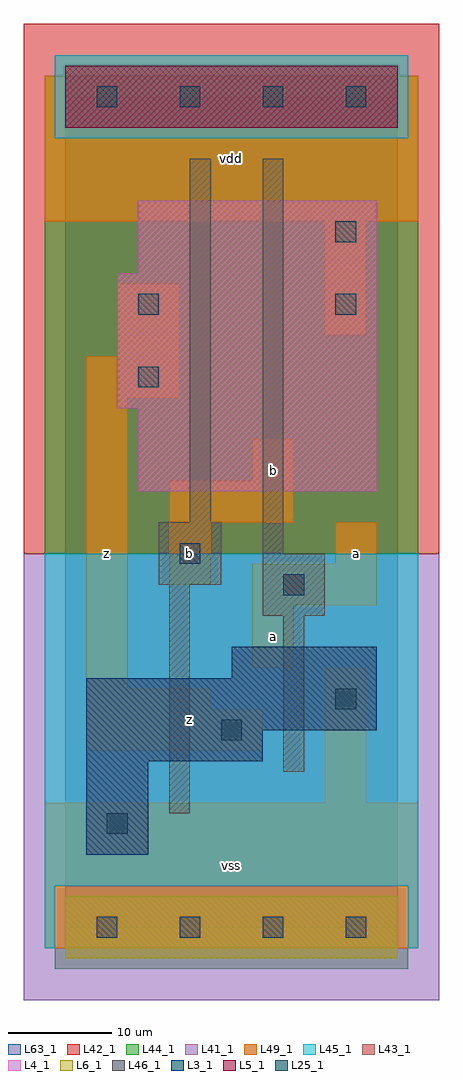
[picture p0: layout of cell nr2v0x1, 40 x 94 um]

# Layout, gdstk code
import gdstk
lib = gdstk.Library(unit=1e-6, precision=1e-09)
def R(c, l, rs):  # rectangles x0, y0, x1, y1
    for r in rs: c.add(gdstk.rectangle(r[:2], r[2:], *l))
def A(c, l, x, y, w, h, nx, ny, dx, dy):  # array of equal rectangles
    R(c, l, [(x+i*dx, y+j*dy, x+i*dx+w, y+j*dy+h) for i in range(nx) for j in range(ny)])
L3_1 = (3, 1)
L4_1 = (4, 1)
L5_1 = (5, 1)
L6_1 = (6, 1)
L25_1 = (25, 1)
L41_1 = (41, 1)
L42_1 = (42, 1)
L43_1 = (43, 1)
L44_1 = (44, 1)
L45_1 = (45, 1)
L46_1 = (46, 1)
L49_1 = (49, 1)
L63_1 = (63, 1)

nr2v0x1 = lib.new_cell('nr2v0x1')
R(nr2v0x1, L3_1, [(2,7,8,16), (2,16,19,19), (2,19,30,24), (16,24,30,27)])
R(nr2v0x1, L4_1, [(7,42,30,50), (5,50,30,63), (7,63,30,70)])
R(nr2v0x1, L5_1, [(0,77,32,83)])
R(nr2v0x1, L6_1, [(0,-3,32,3), (0,-3,32,3)])
A(nr2v0x1, L25_1, 3, -1, 2, 2, 4, 2, 8, 80)
R(nr2v0x1, L25_1, [(4,9,6,11), (15,18,17,20), (26,21,28,23), (21,32,23,34), (11,35,13,37), (7,52,9,54), (7,59,9,61), (26,59,28,61), (26,66,28,68)])
R(nr2v0x1, L41_1, [(-4,-7,36,36)])
R(nr2v0x1, L42_1, [(-4,36,36,87)])
R(nr2v0x1, L43_1, [(0,-3,32,3), (2,7,8,16), (2,16,19,19), (2,19,30,24), (16,24,30,27), (7,42,30,50), (5,50,30,63), (7,63,30,70), (0,77,32,83)])
R(nr2v0x1, L44_1, [(-1,-4,33,4), (-2,36,34,76), (-2,76,-1,82), (33,76,34,82)])
R(nr2v0x1, L45_1, [(-2,-2,-1,4), (33,-2,34,4), (-2,4,34,36), (-1,76,33,84)])
R(nr2v0x1, L46_1, [(10,11,12,33), (21,15,23,30), (19,30,25,36), (9,33,15,39), (19,36,21,74), (12,39,14,74)])
R(nr2v0x1, L49_1, [(-2,-2,34,12), (25,12,29,25), (2,17,19,21), (2,21,14,23), (2,23,6,51), (18,25,22,31), (18,31,30,35), (10,33,14,39), (26,35,30,39), (10,39,22,43), (18,43,22,47), (2,51,11,55), (5,55,11,62), (25,57,29,68), (-2,68,34,82)])
R(nr2v0x1, L63_1, [(0,0,32,80)])
nr2v0x1.add(gdstk.Label('z', (4,36), layer=49, texttype=1))
nr2v0x1.add(gdstk.Label('z', (12,20), layer=49, texttype=1))
nr2v0x1.add(gdstk.Label('b', (12,36), layer=49, texttype=1))
nr2v0x1.add(gdstk.Label('vss', (16,6), layer=49, texttype=1))
nr2v0x1.add(gdstk.Label('a', (20,28), layer=49, texttype=1))
nr2v0x1.add(gdstk.Label('b', (20,44), layer=49, texttype=1))
nr2v0x1.add(gdstk.Label('vdd', (16,74), layer=49, texttype=1))
nr2v0x1.add(gdstk.Label('a', (28,36), layer=49, texttype=1))

lib.write_gds('nr2v0x1.gds')
